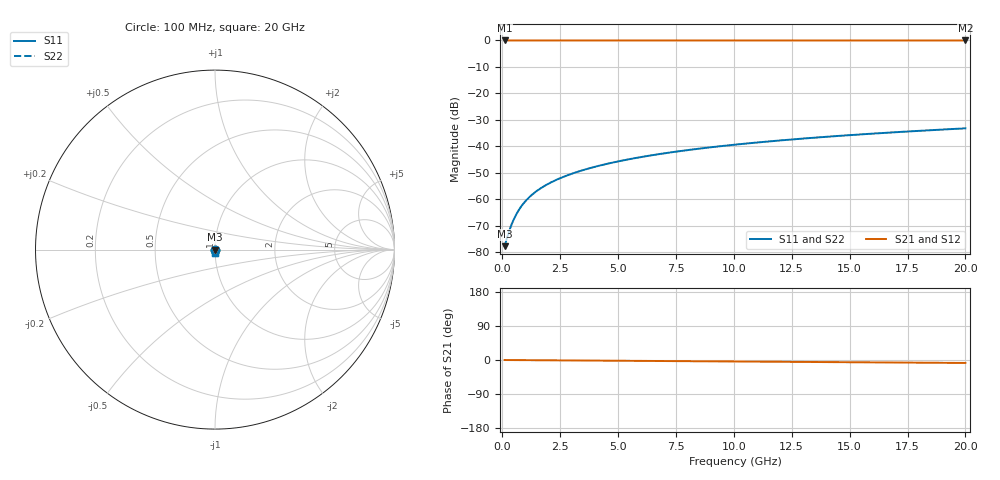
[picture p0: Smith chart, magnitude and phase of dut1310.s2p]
! Touchstone file exported from HFSS 2026.1.0
!  File:  C:/ffzhzh/LocalFiles/Ansys_Project_Files/temp_train_TSV_1310_1783194928_18472.aedt
!  Generated:  03:56:46 AM Jul  5, 2026
!  Design:  TSV
!  Project:  temp_train_TSV_1310_1783194928_18472
! Variables:
!  h_bsmrdl = 2um
!  h_ox = 20um
!  h_rdl = 5um
!  h_sub = 79.29um
!  h_tmrdl = 5um
!  h_tsv = 79.29um
!  h_via = 3um
!  l_bsmrdl = 300um
!  l_sub = 422.2um
!  l_tmrdl = 200um
!  m_sub = 200um
!  pitch = 38.28um
!  r_tsv = 11.1um
!  s_tmrdl = 10um
!  w_bsmrdl = 18um
!  w_sub = 500um
!  w_tmrdl = 12um
!  x_tsv_center1 = 206um
!  x_tsv_center2 = 524um
!  x_tsv_center3 = 736um
!  x_tsv_center4 = 1054um
!  x_tsv_center5 = 1266um
!  x_tsv_center6 = 1584um
# GHz S MA R 50.000000
! Terminal data exported
! Port[1] = TSV1_1_T1
! Port[2] = TSV1_1_T2
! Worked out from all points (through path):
!   200 points, 100 MHz to 20 GHz, reference 50 ohm
!   highest |S21| = 0.00 dB at 100 MHz (marker M1); lowest = 0.0 dB at 20 GHz (marker M2)
!   group delay of S21, straight-line fit = 1.08 ps
!   lowest |S11| = -77.8 dB at 100 MHz (marker M3), VSWR 1.00, Z = 50 - j0.00642 ohm
!   |S11| at or under -10 dB: start of sweep to end of sweep
!   |S22| runs from -77.8 to -33.2 dB; largest |S21 - S12| = 2e-15
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0.1  0.0001288 -29.9  0.9999 -0.0  0.9999 -0.0  0.0001288 -29.9
! Gamma 0 0 0 0
! Port Impedance 50 0 50 0
0.3  0.0002508 -54.8  0.9999 -0.1  0.9999 -0.1  0.0002508 -54.8
0.4  0.0003307 -59.5  0.9998 -0.2  0.9998 -0.2  0.0003307 -59.5
0.5  0.0004184 -62.6  0.9998 -0.2  0.9998 -0.2  0.0004184 -62.6
0.6  0.0005116 -65.0  0.9998 -0.2  0.9998 -0.2  0.0005116 -65.0
0.7  0.000609 -66.9  0.9998 -0.3  0.9998 -0.3  0.000609 -66.9
0.9  0.0008111 -70.0  0.9997 -0.4  0.9997 -0.4  0.0008111 -70.0
1.2  0.001123 -73.5  0.9997 -0.5  0.9997 -0.5  0.001123 -73.5
1.4  0.001332 -75.2  0.9996 -0.6  0.9996 -0.6  0.001332 -75.2
1.6  0.001542 -76.6  0.9996 -0.6  0.9996 -0.6  0.001542 -76.6
2.1  0.002068 -79.2  0.9996 -0.8  0.9996 -0.8  0.002068 -79.2
2.7  0.002701 -81.2  0.9995 -1.1  0.9995 -1.1  0.002701 -81.2
3.5  0.003549 -83.0  0.9995 -1.4  0.9995 -1.4  0.003549 -83.0
4.2  0.004298 -84.1  0.9994 -1.7  0.9994 -1.7  0.004298 -84.1
5  0.005161 -85.1  0.9994 -2.0  0.9994 -2.0  0.005161 -85.1
5.9  0.00614 -86.0  0.9993 -2.3  0.9993 -2.3  0.00614 -86.0
6.8  0.007125 -86.8  0.9992 -2.7  0.9992 -2.7  0.007125 -86.8
8.3  0.008775 -88.0  0.9992 -3.3  0.9992 -3.3  0.008775 -88.0
10.1  0.01076 -89.2  0.9991 -4.0  0.9991 -4.0  0.01076 -89.2
13.4  0.01442 -91.2  0.9989 -5.2  0.9989 -5.2  0.01442 -91.2
16.7  0.01809 -92.9  0.9987 -6.5  0.9987 -6.5  0.01809 -92.9
20  0.02178 -94.5  0.9985 -7.8  0.9985 -7.8  0.02178 -94.5
